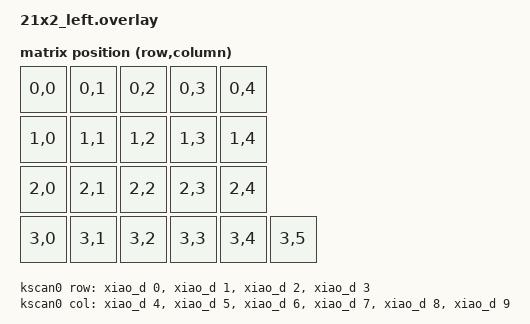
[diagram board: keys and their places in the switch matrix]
/ {
    chosen {
        zmk,kscan = &kscan0;
        zmk,matrix-transform = &default_transform;
    };

    kscan0: kscan {
        compatible = "zmk,kscan-gpio-matrix";
        label = "KSCAN";
        diode-direction = "row2col"; // ダイオードの向き：行から列

        // 【行（縦）】のピン指定
        // フラグをすべて消し、ピン番号だけを指定する形に直しました。
        row-gpios
            = <&xiao_d 0>
            , <&xiao_d 1>
            , <&xiao_d 2>
            , <&xiao_d 3>
            ;

        // 【列（横）】のピン指定
        // エラーの最大の原因だった40行目以降も、すべてピン番号のみに統一しました。
        col-gpios
            = <&xiao_d 4>
            , <&xiao_d 5>
            , <&xiao_d 6>
            , <&xiao_d 7>
            , <&xiao_d 8>
            , <&xiao_d 9>
            ;
    };

    // マトリクス変換（4行×6列の回路を、実際の21キーの形に翻訳）
    default_transform: keymap_transform_0 {
        compatible = "zmk,matrix-transform";
        columns = <6>; // 横は最大6列
        rows = <4>;    // 縦は4行

        map = <
        RC(0,0) RC(0,1) RC(0,2) RC(0,3) RC(0,4)
        RC(1,0) RC(1,1) RC(1,2) RC(1,3) RC(1,4)
        RC(2,0) RC(2,1) RC(2,2) RC(2,3) RC(2,4)
        RC(3,0) RC(3,1) RC(3,2) RC(3,3) RC(3,4) RC(3,5)
        >;
    };
};
